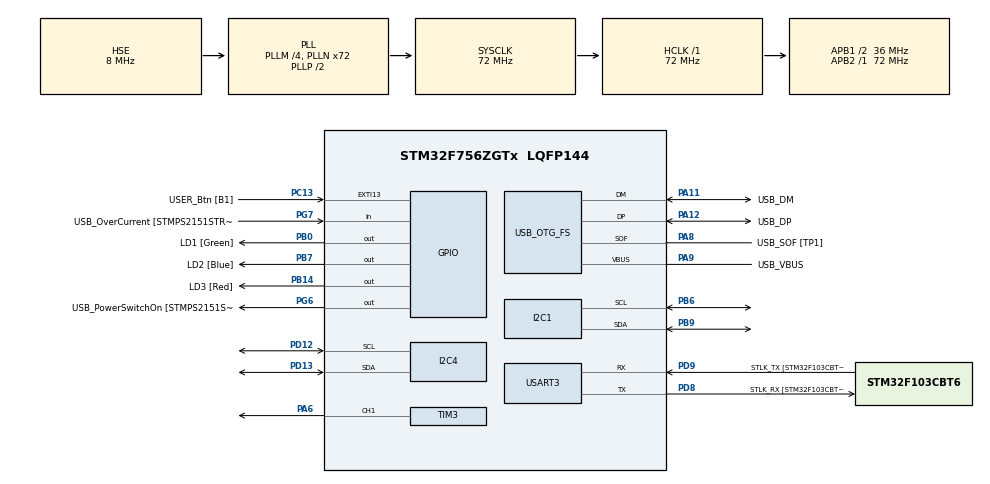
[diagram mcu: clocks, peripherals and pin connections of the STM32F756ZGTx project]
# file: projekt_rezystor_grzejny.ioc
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I2C1.Timing=0x00808CD2
I2C4.Timing=0x00808CD2
Mcu.Family=STM32F7
Mcu.Name=STM32F756ZGTx
Mcu.Package=LQFP144
NVIC.PriorityGroup=NVIC_PRIORITYGROUP_4
NVIC.TIM3_IRQn=true\:0\:0\:false\:false\:true\:true\:true
NVIC.TIM7_IRQn=true\:0\:0\:false\:false\:true\:true\:true
PA1.GPIO_Label=RMII_REF_CLK [LAN8742A-CZ-TR_REFCLK0]
PA1.Signal=ETH_REF_CLK
PA10.GPIO_Label=USB_ID
PA10.Signal=USB_OTG_FS_ID
PA11.GPIO_Label=USB_DM
PA11.Mode=Device_Only
PA11.Signal=USB_OTG_FS_DM
PA12.GPIO_Label=USB_DP
PA12.Mode=Device_Only
PA12.Signal=USB_OTG_FS_DP
PA13.GPIO_Label=TMS
PA13.Mode=Serial_Wire
PA13.Signal=SYS_JTMS-SWDIO
PA14.GPIO_Label=TCK
PA14.Mode=Serial_Wire
PA14.Signal=SYS_JTCK-SWCLK
PA2.GPIO_Label=RMII_MDIO [LAN8742A-CZ-TR_MDIO]
PA2.Signal=ETH_MDIO
PA6.Signal=S_TIM3_CH1
PA7.GPIO_Label=RMII_CRS_DV [LAN8742A-CZ-TR_CRS_DV]
PA7.Signal=ETH_CRS_DV
PA8.GPIO_Label=USB_SOF [TP1]
PA8.Mode=Activate_SOF_FS
PA8.Signal=USB_OTG_FS_SOF
PA9.GPIO_Label=USB_VBUS
PA9.Mode=Activate_VBUS
PA9.Signal=USB_OTG_FS_VBUS
PB0.GPIO_Label=LD1 [Green]
PB0.Signal=GPIO_Output
PB13.GPIO_Label=RMII_TXD1 [LAN8742A-CZ-TR_TXD1]
PB13.Signal=ETH_TXD1
PB14.GPIO_Label=LD3 [Red]
PB14.Signal=GPIO_Output
PB3.GPIO_Label=SW0
PB3.Signal=SYS_JTDO-SWO
PB6.Mode=I2C
PB6.Signal=I2C1_SCL
PB7.GPIO_Label=LD2 [Blue]
PB7.Signal=GPIO_Output
PB9.Mode=I2C
PB9.Signal=I2C1_SDA
PC1.GPIO_Label=RMII_MDC [LAN8742A-CZ-TR_MDC]
PC1.Signal=ETH_MDC
PC13.GPIO_Label=USER_Btn [B1]
PC13.Signal=GPXTI13
PC14/OSC32_IN.Mode=LSE-External-Oscillator
PC14/OSC32_IN.Signal=RCC_OSC32_IN
PC15/OSC32_OUT.Mode=LSE-External-Oscillator
PC15/OSC32_OUT.Signal=RCC_OSC32_OUT
PC4.GPIO_Label=RMII_RXD0 [LAN8742A-CZ-TR_RXD0]
PC4.Signal=ETH_RXD0
PC5.GPIO_Label=RMII_RXD1 [LAN8742A-CZ-TR_RXD1]
PC5.Signal=ETH_RXD1
PD12.Mode=I2C
PD12.Signal=I2C4_SCL
PD13.Mode=I2C
PD13.Signal=I2C4_SDA
PD8.GPIO_Label=STLK_RX [STM32F103CBT6_PA3]
PD8.Mode=Asynchronous
PD8.Signal=USART3_TX
PD9.GPIO_Label=STLK_TX [STM32F103CBT6_PA2]
PD9.Mode=Asynchronous
PD9.Signal=USART3_RX
PG11.GPIO_Label=RMII_TX_EN [LAN8742A-CZ-TR_TXEN]
PG11.Signal=ETH_TX_EN
PG13.GPIO_Label=RMII_TXD0 [LAN8742A-CZ-TR_TXD0]
PG13.Signal=ETH_TXD0
PG6.GPIO_Label=USB_PowerSwitchOn [STMPS2151STR_EN]
PG6.Signal=GPIO_Output
PG7.GPIO_Label=USB_OverCurrent [STMPS2151STR_FAULT]
PG7.Signal=GPIO_Input
PH0/OSC_IN.GPIO_Label=MCO [STM32F103CBT6_PA8]
PH0/OSC_IN.Mode=HSE-External-Clock-Source
PH0/OSC_IN.Signal=RCC_OSC_IN
PH1/OSC_OUT.Mode=HSE-External-Clock-Source
PH1/OSC_OUT.Signal=RCC_OSC_OUT
ProjectManager.HeapSize=0x200
ProjectManager.StackSize=0x400
ProjectManager.TargetToolchain=STM32CubeIDE
RCC.48MHZClocksFreq_Value=24000000
RCC.AHBFreq_Value=72000000
RCC.APB1CLKDivider=RCC_HCLK_DIV2
RCC.APB1Freq_Value=36000000
RCC.APB1TimFreq_Value=72000000
RCC.APB2Freq_Value=72000000
RCC.APB2TimFreq_Value=72000000
RCC.CortexFreq_Value=72000000
RCC.HCLKFreq_Value=72000000
RCC.HSE_VALUE=8000000
RCC.HSI_VALUE=16000000
RCC.PLLM=4
RCC.PLLMUL=RCC_PLL_MUL9
RCC.PLLN=72
RCC.PLLQ=3
RCC.PRESCALERUSB=RCC_USBCLKSOURCE_PLL_DIV1_5
RCC.SYSCLKFreq_VALUE=72000000
RCC.SYSCLKSource=RCC_SYSCLKSOURCE_PLLCLK
RCC.SYSCLKSourceVirtual=RCC_SYSCLKSOURCE_PLLCLK
RCC.USBFreq_Value=48000000
RCC.VCOOutputFreq_Value=144000000
SH.S_TIM3_CH1.0=TIM3_CH1,PWM Generation1 CH1
TIM3.AutoReloadPreload=TIM_AUTORELOAD_PRELOAD_ENABLE
TIM3.Channel-PWM\ Generation1\ CH1=TIM_CHANNEL_1
TIM3.OCPolarity_1=TIM_OCPOLARITY_LOW
TIM3.Period=999
TIM3.Prescaler=71
TIM3.Pulse-PWM\ Generation1\ CH1=0
TIM7.AutoReloadPreload=TIM_AUTORELOAD_PRELOAD_ENABLE
TIM7.Period=999
TIM7.Prescaler=7199
USART3.VirtualMode-Asynchronous=VM_ASYNC
USB_OTG_FS.VirtualMode=Device_Only
VP_TIM3_VS_ClockSourceINT.Mode=Internal
VP_TIM7_VS_ClockSourceINT.Mode=Enable_Timer
board=NUCLEO-F756ZG

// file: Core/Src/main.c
/* USER CODE BEGIN Header */
/**
 ******************************************************************************
 * @file           : main.c
 * @brief          : Main program body
 ******************************************************************************
 * @attention
 *
 * Copyright (c) 2022 STMicroelectronics.
 * All rights reserved.
 *
 * This software is licensed under terms that can be found in the LICENSE file
 * in the root directory of this software component.
 * If no LICENSE file comes with this software, it is provided AS-IS.
 *
 ******************************************************************************
 */
/* USER CODE END Header */
#include "main.h"
#include "i2c.h"
#include "tim.h"
#include "usart.h"
#include "usb_otg.h"
#include "gpio.h"

/* USER CODE BEGIN Includes */
#include "BMPXX80.h" // sensor

#include "pid.h" // actuator signal
#include "i2c-lcd.h"
/* USER CODE END Includes */

void SystemClock_Config(void);

int main(void)
{

  /* MCU Configuration--------------------------------------------------------*/

  /* Reset of all peripherals, Initializes the Flash interface and the Systick. */
  HAL_Init();

  /* Configure the system clock */
  SystemClock_Config();

  /* Initialize all configured peripherals */
  MX_GPIO_Init();
  MX_USART3_UART_Init();
  MX_USB_OTG_FS_PCD_Init();
  MX_TIM3_Init();
  MX_TIM7_Init();
  MX_I2C1_Init();
  MX_I2C4_Init();
  /* USER CODE BEGIN 2 */
  lcd_init();

  lcd_put_cur(0,0);
  lcd_send_string("Projekt zaliczeniowy");
  lcd_put_cur(1,0);
  lcd_send_string("reg PID temperatury");
  lcd_put_cur(2,0);
  lcd_send_string("Bartosz Popielarczyk");
  lcd_put_cur(3,3);
  lcd_send_string("Maciej Krupka");
  HAL_GPIO_WritePin(LD2_GPIO_Port, LD2_Pin, GPIO_PIN_SET);
  //PID_Regulator_Init(&pid);
  PID_Regulator_Init( & pid); // init PID
  PID_SET_SETPOINT( & pid , 42.00); // base temp

  HAL_GPIO_WritePin(LD3_GPIO_Port, LD3_Pin, GPIO_PIN_SET);
  BMP280_Init( & hi2c1, BMP280_TEMPERATURE_16BIT, BMP280_STANDARD, BMP280_FORCEDMODE); // Init temp&preasure sensor
  HAL_GPIO_WritePin(LD3_GPIO_Port, LD3_Pin, GPIO_PIN_RESET); // turn off when init is completed
  HAL_TIM_Base_Start_IT( & htim7); // sampling time to read temp
  HAL_TIM_PWM_Start( & htim3, TIM_CHANNEL_1); // PWM control Resistor
  HAL_Delay(1500);
  /* USER CODE END 2 */

  /* Infinite loop */
  while (1) {

  }
}

void SystemClock_Config(void)
{
  RCC_OscInitTypeDef RCC_OscInitStruct = {0};
  RCC_ClkInitTypeDef RCC_ClkInitStruct = {0};

  /** Configure LSE Drive Capability
  */
  HAL_PWR_EnableBkUpAccess();
  /** Configure the main internal regulator output voltage
  */
  __HAL_RCC_PWR_CLK_ENABLE();
  __HAL_PWR_VOLTAGESCALING_CONFIG(PWR_REGULATOR_VOLTAGE_SCALE3);
  /** Initializes the RCC Oscillators according to the specified parameters
  * in the RCC_OscInitTypeDef structure.
  */
  RCC_OscInitStruct.OscillatorType = RCC_OSCILLATORTYPE_HSE;
  RCC_OscInitStruct.HSEState = RCC_HSE_BYPASS;
  RCC_OscInitStruct.PLL.PLLState = RCC_PLL_ON;
  RCC_OscInitStruct.PLL.PLLSource = RCC_PLLSOURCE_HSE;
  RCC_OscInitStruct.PLL.PLLM = 4;
  RCC_OscInitStruct.PLL.PLLN = 72;
  RCC_OscInitStruct.PLL.PLLP = RCC_PLLP_DIV2;
  RCC_OscInitStruct.PLL.PLLQ = 3;
  if (HAL_RCC_OscConfig(&RCC_OscInitStruct) != HAL_OK)
  {
    Error_Handler();
  }
  /** Initializes the CPU, AHB and APB buses clocks
  */
  RCC_ClkInitStruct.ClockType = RCC_CLOCKTYPE_HCLK|RCC_CLOCKTYPE_SYSCLK
                              |RCC_CLOCKTYPE_PCLK1|RCC_CLOCKTYPE_PCLK2;
  RCC_ClkInitStruct.SYSCLKSource = RCC_SYSCLKSOURCE_PLLCLK;
  RCC_ClkInitStruct.AHBCLKDivider = RCC_SYSCLK_DIV1;
  RCC_ClkInitStruct.APB1CLKDivider = RCC_HCLK_DIV2;
  RCC_ClkInitStruct.APB2CLKDivider = RCC_HCLK_DIV1;

  if (HAL_RCC_ClockConfig(&RCC_ClkInitStruct, FLASH_LATENCY_2) != HAL_OK)
  {
    Error_Handler();
  }
}

void Error_Handler(void)
{
  __disable_irq();
  while (1) {}
}
